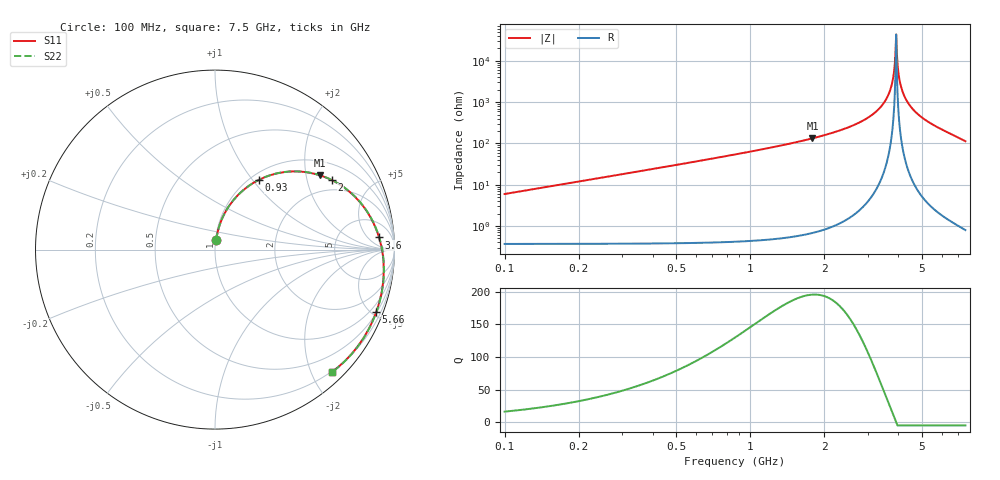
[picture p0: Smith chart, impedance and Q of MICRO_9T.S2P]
! Coilcraft 1606-9 Micro Spring Air Core Inductor
! 16 May 2003
# MHZ S MA R 50
!Freq  MagS11  AngS11  MagS21  AngS21  MagS12  AngS12  MagS22  AngS22
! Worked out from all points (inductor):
!   741 points, 100 MHz to 7.5 GHz, reference 50 ohm
!   read as 1/Y11, port 2 shorted: L = 9.46 nH near 130 MHz
!   highest Q = 195 at 1.79 GHz (marker M1), where L = 11.8 nH
!   self-resonance near 3.92 GHz
!   S11 on the Smith chart (normalised r, x): 100 MHz: 1.01, +0.11; 930 MHz: 1.09, +1.08; 2 GHz: 1.57, +2.85; 3.6 GHz: 13, +11; 5.66 GHz: 0.55, -5.29; 7.5 GHz: 0.19, -2.32
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100  0.0551 82.6  0.9948 -3.6  0.9948 -3.6  0.05516 82.6
180  0.09873 81.4  0.9915 -6.5  0.9915 -6.5  0.09884 81.4
230  0.1258 80.0  0.9884 -8.3  0.9884 -8.3  0.1259 80.0
300  0.1632 77.9  0.983 -10.8  0.983 -10.8  0.1634 77.9
390  0.2104 75.0  0.974 -14.0  0.974 -14.0  0.2106 75.0
500  0.2663 71.4  0.9603 -17.8  0.9603 -17.8  0.2666 71.4
620  0.3246 67.5  0.9423 -21.9  0.9423 -21.9  0.325 67.5
770  0.393 62.7  0.916 -26.8  0.916 -26.8  0.3935 62.7
930  0.46 57.7  0.8845 -31.9  0.8845 -31.9  0.4606 57.7
1340  0.603 46.1  0.7944 -43.6  0.7944 -43.6  0.6037 46.1
1790  0.717 35.2  0.6939 -54.6  0.6939 -54.6  0.7178 35.2
2000  0.7576 30.7  0.6494 -59.1  0.6494 -59.1  0.7585 30.7
2570  0.8385 19.9  0.5413 -69.9  0.5413 -69.9  0.8394 19.9
3060  0.8836 12.0  0.464 -77.8  0.464 -77.8  0.8846 12.0
3600  0.9166 4.2  0.3946 -85.6  0.3946 -85.6  0.9176 4.2
3800  0.9257 1.5  0.3726 -88.2  0.3726 -88.2  0.9267 1.5
4400  0.9455 -6.1  0.3182 -95.8  0.3182 -95.8  0.9464 -6.1
5040  0.9577 -13.8  0.2778 -103.4  0.2778 -103.4  0.9587 -13.8
5660  0.9633 -21.2  0.2558 -110.7  0.2558 -110.7  0.9642 -21.2
6270  0.9636 -28.7  0.2522 -118.2  0.2522 -118.2  0.9645 -28.7
6870  0.9582 -36.8  0.2697 -126.2  0.2697 -126.2  0.9591 -36.8
7500  0.9427 -46.4  0.3169 -135.9  0.3169 -135.9  0.9436 -46.4
